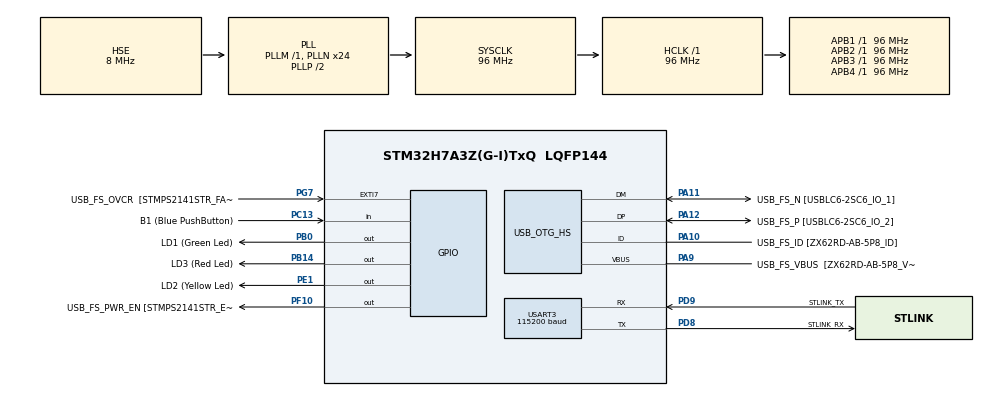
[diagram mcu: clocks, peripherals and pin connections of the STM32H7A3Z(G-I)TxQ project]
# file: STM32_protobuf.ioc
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Mcu.Family=STM32H7
Mcu.Name=STM32H7A3Z(G-I)TxQ
Mcu.Package=LQFP144
NVIC.PriorityGroup=NVIC_PRIORITYGROUP_4
NVIC.USART3_IRQn=true\:0\:0\:false\:false\:true\:true\:true\:true
PA10.GPIO_Label=USB_FS_ID [ZX62RD-AB-5P8_ID]
PA10.Mode=OTG/Dual-Role-Device-FS
PA10.Signal=USB_OTG_HS_ID
PA11.GPIO_Label=USB_FS_N [USBLC6-2SC6_IO_1]
PA11.Mode=OTG/Dual-Role-Device-FS
PA11.Signal=USB_OTG_HS_DM
PA12.GPIO_Label=USB_FS_P [USBLC6-2SC6_IO_2]
PA12.Mode=OTG/Dual-Role-Device-FS
PA12.Signal=USB_OTG_HS_DP
PA9.GPIO_Label=USB_FS_VBUS  [ZX62RD-AB-5P8_VBUS]
PA9.Mode=Activate_VBUS_FS
PA9.Signal=USB_OTG_HS_VBUS
PB0.GPIO_Label=LD1 (Green Led)
PB0.Signal=GPIO_Output
PB14.GPIO_Label=LD3 (Red Led)
PB14.Signal=GPIO_Output
PC13.GPIO_Label=B1 (Blue PushButton)
PC13.Signal=GPIO_Input
PC14-OSC32_IN.GPIO_Label=OSC32_IN
PC14-OSC32_IN.Mode=LSE-External-Oscillator
PC14-OSC32_IN.Signal=RCC_OSC32_IN
PC15-OSC32_OUT.GPIO_Label=OSC32_OUT
PC15-OSC32_OUT.Mode=LSE-External-Oscillator
PC15-OSC32_OUT.Signal=RCC_OSC32_OUT
PD8.GPIO_Label=STLINK_RX
PD8.Mode=Asynchronous
PD8.Signal=USART3_TX
PD9.GPIO_Label=STLINK_TX
PD9.Mode=Asynchronous
PD9.Signal=USART3_RX
PE1.GPIO_Label=LD2 (Yellow Led)
PE1.Signal=GPIO_Output
PF10.GPIO_Label=USB_FS_PWR_EN [STMPS2141STR_EN]
PF10.Signal=GPIO_Output
PG7.GPIO_Label=USB_FS_OVCR  [STMPS2141STR_FAULT]
PG7.Signal=GPXTI7
PH0-OSC_IN.GPIO_Label=PH0-MCU
PH0-OSC_IN.Mode=HSE-External-Clock-Source
PH0-OSC_IN.Signal=RCC_OSC_IN
PH1-OSC_OUT.GPIO_Label=PH1-MCU
PH1-OSC_OUT.Signal=RCC_OSC_OUT
ProjectManager.HeapSize=0x200
ProjectManager.StackSize=0x400
ProjectManager.TargetToolchain=STM32CubeIDE
RCC.ADCFreq_Value=16125000
RCC.APB1Freq_Value=96000000
RCC.APB2Freq_Value=96000000
RCC.APB3Freq_Value=96000000
RCC.APB4Freq_Value=96000000
RCC.CortexFreq_Value=96000000
RCC.DIVM1=1
RCC.DIVM3=1
RCC.DIVN1=24
RCC.DIVN3=24
RCC.DIVQ1=4
RCC.HCLKFreq_Value=96000000
RCC.HSE_VALUE=8000000
RCC.PLLFRACN=0
RCC.PLLSourceVirtual=RCC_PLLSOURCE_HSE
RCC.PWR_Regulator_Voltage_Scale=PWR_REGULATOR_VOLTAGE_SCALE0
RCC.SYSCLKFreq_VALUE=96000000
RCC.SYSCLKSource=RCC_SYSCLKSOURCE_PLLCLK
RCC.SupplySource=PWR_DIRECT_SMPS_SUPPLY
RCC.USBCLockSelection=RCC_USBCLKSOURCE_HSI48
RCC.USBFreq_Value=48000000
USART3.BaudRate=115200
USART3.VirtualMode-Asynchronous=VM_ASYNC
board=NUCLEO-H7A3ZI-Q

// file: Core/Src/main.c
/* USER CODE BEGIN Header */
/**
  ******************************************************************************
  * @file           : main.c
  * @brief          : Main program body
  ******************************************************************************
  * @attention
  *
  * Copyright (c) 2024 STMicroelectronics.
  * All rights reserved.
  *
  * This software is licensed under terms that can be found in the LICENSE file
  * in the root directory of this software component.
  * If no LICENSE file comes with this software, it is provided AS-IS.
  *
  ******************************************************************************
  */
/* USER CODE END Header */
#include "main.h"

/* USER CODE BEGIN Includes */

#include "stdbool.h"
#include "process_protobuf.h"

/* USER CODE END Includes */

UART_HandleTypeDef huart3;

/* USER CODE BEGIN PV */

// Buffer to receive messages
static uint8_t uartBuffer[2] = {0};

// Message received flag
#ifndef PROTOBUF_LED_TIME_CRITICAL
bool uartMsgReceived = 0;
#endif

/* USER CODE END PV */

void SystemClock_Config(void);
static void MX_GPIO_Init(void);
static void MX_USART3_UART_Init(void);
static void MX_USB_OTG_HS_USB_Init(void);

/* USER CODE BEGIN 0 */

/* Handle UART interrupt */
void HAL_UART_RxCpltCallback( UART_HandleTypeDef *huart )
{

#ifdef PROTOBUF_LED_TIME_CRITICAL

	// Set yellow led to signal data processing to the user.
	HAL_GPIO_WritePin(LD2_GPIO_Port, LD2_Pin, GPIO_PIN_SET);

	if (!processProtobufMsg(uartBuffer))
	{
		// Set red led to signal decoding error to the user
		HAL_GPIO_WritePin(LD3_GPIO_Port, LD3_Pin, GPIO_PIN_SET);
	}

	// Reset yellow led
	HAL_GPIO_WritePin(LD2_GPIO_Port, LD2_Pin, GPIO_PIN_RESET);

#else

	if (uartMsgReceived)
	{
		/* Flag not cleared, possible data loss
		 * Set red led to signal decoding error to the user */
		HAL_GPIO_WritePin(LD3_GPIO_Port, LD3_Pin, GPIO_PIN_SET);
	}
	else
	{
		// Set flag to process protobuf message
		uartMsgReceived = true;
	}

#endif

	// Receive next message
	HAL_UART_Receive_IT(&huart3, uartBuffer, LED_STATE_MSG_LENGTH);
}

void HAL_UART_ErrorCallback(UART_HandleTypeDef *huart)
{
	// Set red led to signal error to the user
	HAL_GPIO_WritePin(LD3_GPIO_Port, LD3_Pin, GPIO_PIN_SET);
}

/* USER CODE END 0 */

int main(void)
{

  /* MCU Configuration--------------------------------------------------------*/

  /* Reset of all peripherals, Initializes the Flash interface and the Systick. */
  HAL_Init();

  /* Configure the system clock */
  SystemClock_Config();

  /* Initialize all configured peripherals */
  MX_GPIO_Init();
  MX_USART3_UART_Init();
  MX_USB_OTG_HS_USB_Init();
  /* USER CODE BEGIN 2 */

  // Start UART receive
  HAL_UART_Receive_IT(&huart3, uartBuffer, LED_STATE_MSG_LENGTH);

  /* USER CODE END 2 */

  /* Infinite loop */
  while (1)
  {

    /* USER CODE BEGIN 3 */

#ifndef PROTOBUF_LED_TIME_CRITICAL
	  if( uartMsgReceived )
	  {
			// Set yellow led to signal data processing to the user.
			HAL_GPIO_WritePin(LD2_GPIO_Port, LD2_Pin, GPIO_PIN_SET);

			if (!processProtobufMsg(uartBuffer))
			{
				// Set red led to signal decoding error to the user
				HAL_GPIO_WritePin(LD3_GPIO_Port, LD3_Pin, GPIO_PIN_SET);
			}

			// Reset yellow led
			HAL_GPIO_WritePin(LD2_GPIO_Port, LD2_Pin, GPIO_PIN_RESET);

			// Reset flag
			uartMsgReceived = false;

	  }
#endif

  }
  /* USER CODE END 3 */
}

void SystemClock_Config(void)
{
  RCC_OscInitTypeDef RCC_OscInitStruct = {0};
  RCC_ClkInitTypeDef RCC_ClkInitStruct = {0};

  /*AXI clock gating */
  RCC->CKGAENR = 0xFFFFFFFF;

  /** Supply configuration update enable
  */
  HAL_PWREx_ConfigSupply(PWR_DIRECT_SMPS_SUPPLY);

  /** Configure the main internal regulator output voltage
  */
  __HAL_PWR_VOLTAGESCALING_CONFIG(PWR_REGULATOR_VOLTAGE_SCALE0);

  while(!__HAL_PWR_GET_FLAG(PWR_FLAG_VOSRDY)) {}

  /** Initializes the RCC Oscillators according to the specified parameters
  * in the RCC_OscInitTypeDef structure.
  */
  RCC_OscInitStruct.OscillatorType = RCC_OSCILLATORTYPE_HSI48|RCC_OSCILLATORTYPE_HSE;
  RCC_OscInitStruct.HSEState = RCC_HSE_BYPASS;
  RCC_OscInitStruct.HSI48State = RCC_HSI48_ON;
  RCC_OscInitStruct.PLL.PLLState = RCC_PLL_ON;
  RCC_OscInitStruct.PLL.PLLSource = RCC_PLLSOURCE_HSE;
  RCC_OscInitStruct.PLL.PLLM = 1;
  RCC_OscInitStruct.PLL.PLLN = 24;
  RCC_OscInitStruct.PLL.PLLP = 2;
  RCC_OscInitStruct.PLL.PLLQ = 4;
  RCC_OscInitStruct.PLL.PLLR = 2;
  RCC_OscInitStruct.PLL.PLLRGE = RCC_PLL1VCIRANGE_3;
  RCC_OscInitStruct.PLL.PLLVCOSEL = RCC_PLL1VCOWIDE;
  RCC_OscInitStruct.PLL.PLLFRACN = 0;
  if (HAL_RCC_OscConfig(&RCC_OscInitStruct) != HAL_OK)
  {
    Error_Handler();
  }

  /** Initializes the CPU, AHB and APB buses clocks
  */
  RCC_ClkInitStruct.ClockType = RCC_CLOCKTYPE_HCLK|RCC_CLOCKTYPE_SYSCLK
                              |RCC_CLOCKTYPE_PCLK1|RCC_CLOCKTYPE_PCLK2
                              |RCC_CLOCKTYPE_D3PCLK1|RCC_CLOCKTYPE_D1PCLK1;
  RCC_ClkInitStruct.SYSCLKSource = RCC_SYSCLKSOURCE_PLLCLK;
  RCC_ClkInitStruct.SYSCLKDivider = RCC_SYSCLK_DIV1;
  RCC_ClkInitStruct.AHBCLKDivider = RCC_HCLK_DIV1;
  RCC_ClkInitStruct.APB3CLKDivider = RCC_APB3_DIV1;
  RCC_ClkInitStruct.APB1CLKDivider = RCC_APB1_DIV1;
  RCC_ClkInitStruct.APB2CLKDivider = RCC_APB2_DIV1;
  RCC_ClkInitStruct.APB4CLKDivider = RCC_APB4_DIV1;

  if (HAL_RCC_ClockConfig(&RCC_ClkInitStruct, FLASH_LATENCY_2) != HAL_OK)
  {
    Error_Handler();
  }
}

static void MX_USART3_UART_Init(void)
{

  huart3.Instance = USART3;
  huart3.Init.BaudRate = 115200;
  huart3.Init.WordLength = UART_WORDLENGTH_8B;
  huart3.Init.StopBits = UART_STOPBITS_1;
  huart3.Init.Parity = UART_PARITY_NONE;
  huart3.Init.Mode = UART_MODE_TX_RX;
  huart3.Init.HwFlowCtl = UART_HWCONTROL_NONE;
  huart3.Init.OverSampling = UART_OVERSAMPLING_16;
  huart3.Init.OneBitSampling = UART_ONE_BIT_SAMPLE_DISABLE;
  huart3.Init.ClockPrescaler = UART_PRESCALER_DIV1;
  huart3.AdvancedInit.AdvFeatureInit = UART_ADVFEATURE_NO_INIT;
  if (HAL_UART_Init(&huart3) != HAL_OK)
  {
    Error_Handler();
  }
  if (HAL_UARTEx_SetTxFifoThreshold(&huart3, UART_TXFIFO_THRESHOLD_1_8) != HAL_OK)
  {
    Error_Handler();
  }
  if (HAL_UARTEx_SetRxFifoThreshold(&huart3, UART_RXFIFO_THRESHOLD_1_8) != HAL_OK)
  {
    Error_Handler();
  }
  if (HAL_UARTEx_DisableFifoMode(&huart3) != HAL_OK)
  {
    Error_Handler();
  }

}

static void MX_USB_OTG_HS_USB_Init(void)
{

}

static void MX_GPIO_Init(void)
{
  GPIO_InitTypeDef GPIO_InitStruct = {0};

  /* GPIO Ports Clock Enable */
  __HAL_RCC_GPIOC_CLK_ENABLE();
  __HAL_RCC_GPIOF_CLK_ENABLE();
  __HAL_RCC_GPIOH_CLK_ENABLE();
  __HAL_RCC_GPIOB_CLK_ENABLE();
  __HAL_RCC_GPIOD_CLK_ENABLE();
  __HAL_RCC_GPIOG_CLK_ENABLE();
  __HAL_RCC_GPIOA_CLK_ENABLE();
  __HAL_RCC_GPIOE_CLK_ENABLE();

  /*Configure GPIO pin Output Level */
  HAL_GPIO_WritePin(USB_FS_PWR_EN_GPIO_Port, USB_FS_PWR_EN_Pin, GPIO_PIN_RESET);

  /*Configure GPIO pin Output Level */
  HAL_GPIO_WritePin(GPIOB, LD1_Pin|LD3_Pin, GPIO_PIN_RESET);

  /*Configure GPIO pin Output Level */
  HAL_GPIO_WritePin(LD2_GPIO_Port, LD2_Pin, GPIO_PIN_RESET);

  /*Configure GPIO pin : B1_Pin */
  GPIO_InitStruct.Pin = B1_Pin;
  GPIO_InitStruct.Mode = GPIO_MODE_INPUT;
  GPIO_InitStruct.Pull = GPIO_NOPULL;
  HAL_GPIO_Init(B1_GPIO_Port, &GPIO_InitStruct);

  /*Configure GPIO pin : USB_FS_PWR_EN_Pin */
  GPIO_InitStruct.Pin = USB_FS_PWR_EN_Pin;
  GPIO_InitStruct.Mode = GPIO_MODE_OUTPUT_PP;
  GPIO_InitStruct.Pull = GPIO_NOPULL;
  GPIO_InitStruct.Speed = GPIO_SPEED_FREQ_LOW;
  HAL_GPIO_Init(USB_FS_PWR_EN_GPIO_Port, &GPIO_InitStruct);

  /*Configure GPIO pins : LD1_Pin LD3_Pin */
  GPIO_InitStruct.Pin = LD1_Pin|LD3_Pin;
  GPIO_InitStruct.Mode = GPIO_MODE_OUTPUT_PP;
  GPIO_InitStruct.Pull = GPIO_NOPULL;
  GPIO_InitStruct.Speed = GPIO_SPEED_FREQ_LOW;
  HAL_GPIO_Init(GPIOB, &GPIO_InitStruct);

  /*Configure GPIO pin : USB_FS_OVCR_Pin */
  GPIO_InitStruct.Pin = USB_FS_OVCR_Pin;
  GPIO_InitStruct.Mode = GPIO_MODE_IT_RISING;
  GPIO_InitStruct.Pull = GPIO_NOPULL;
  HAL_GPIO_Init(USB_FS_OVCR_GPIO_Port, &GPIO_InitStruct);

  /*Configure GPIO pin : USB_FS_VBUS_Pin */
  GPIO_InitStruct.Pin = USB_FS_VBUS_Pin;
  GPIO_InitStruct.Mode = GPIO_MODE_INPUT;
  GPIO_InitStruct.Pull = GPIO_NOPULL;
  HAL_GPIO_Init(USB_FS_VBUS_GPIO_Port, &GPIO_InitStruct);

  /*Configure GPIO pin : USB_FS_ID_Pin */
  GPIO_InitStruct.Pin = USB_FS_ID_Pin;
  GPIO_InitStruct.Mode = GPIO_MODE_AF_PP;
  GPIO_InitStruct.Pull = GPIO_NOPULL;
  GPIO_InitStruct.Speed = GPIO_SPEED_FREQ_LOW;
  GPIO_InitStruct.Alternate = GPIO_AF10_OTG1_HS;
  HAL_GPIO_Init(USB_FS_ID_GPIO_Port, &GPIO_InitStruct);

  /*Configure GPIO pins : USB_FS_N_Pin USB_FS_P_Pin */
  GPIO_InitStruct.Pin = USB_FS_N_Pin|USB_FS_P_Pin;
  GPIO_InitStruct.Mode = GPIO_MODE_AF_PP;
  GPIO_InitStruct.Pull = GPIO_NOPULL;
  GPIO_InitStruct.Speed = GPIO_SPEED_FREQ_LOW;
  HAL_GPIO_Init(GPIOA, &GPIO_InitStruct);

  /*Configure GPIO pin : LD2_Pin */
  GPIO_InitStruct.Pin = LD2_Pin;
  GPIO_InitStruct.Mode = GPIO_MODE_OUTPUT_PP;
  GPIO_InitStruct.Pull = GPIO_NOPULL;
  GPIO_InitStruct.Speed = GPIO_SPEED_FREQ_LOW;
  HAL_GPIO_Init(LD2_GPIO_Port, &GPIO_InitStruct);

}

void Error_Handler(void)
{
  __disable_irq();
  while (1)
  {
  }
}
